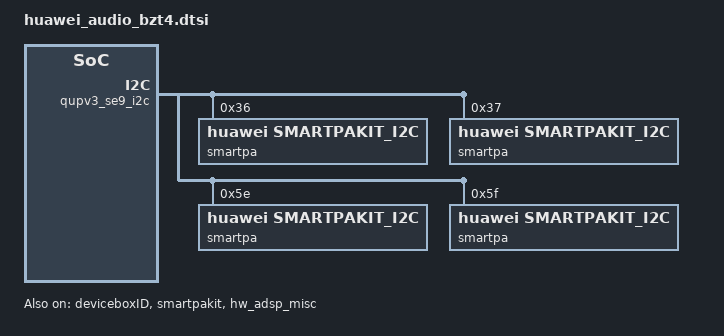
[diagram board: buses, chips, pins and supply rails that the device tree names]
&huawei_audio_info {
	product_identifier = "BZT4";
	smartpa_num = "2";
	speaker_test_content = "leftspeaker,rightspeaker";
	hardware_info {
		mic_num = "1";
		status = "ok";
		hostless_id_info {
			hostless_id_reset = "true";
			hsmic_tx_hostless_id = "46";
			spk_rx_hostless_id = "48";
		};
	};
};

&audio_hw_config {
	product_name = "BZT4";
};

&tlmm {
	smartpakit_irq_pins: smartpakit_irq_pins {
		smartpakit_irq_default: smartpakit_irq_default {
			mux {
				pins = "gpio19", "gpio78";
				function = "gpio";
			};

			config {
				pins = "gpio19", "gpio78";
				bias-pull-up;
				input-enable;
			};
		};
	};

    speaker_box_id_pin {
        speaker_id_default: speaker_default {
            mux {
                pins = "gpio136";
                function = "gpio";
            };
            config {
                pins = "gpio136";
                drive-strength = <2>;
                bias-pull-up;
            };
        };

        speaker_id_sleep: speaker_sleep {
            mux {
                pins = "gpio136";
                function = "gpio";
            };
            config {
                pins = "gpio136";
                drive-strength = <2>;
                bias-pull-down;
            };
        };
    };

    receiver_box_id_pin {
        receiver_id_default: receiver_default {
            mux {
                pins = "gpio142";
                function = "gpio";
            };
            config {
                pins = "gpio142";
                drive-strength = <2>;
                bias-pull-up;
            };
        };

        receiver_id_sleep: receiver_sleep {
            mux {
                pins = "gpio142";
                function = "gpio";
            };
            config {
                pins = "gpio142";
                drive-strength = <2>;
                bias-pull-down;
            };
        };
    };
};

&deviceboxID {
    compatible = "huawei,deviceboxID";
    status = "ok";
    box_num = <2>;
    check_mode = "gpio";            /* check mode use gpio */
    enable_boxID = <1 1 0 0>;       /* enable 2 speaker */
    gpio_num = <1 1 0 0>;             /* each box has one id gpio */
    speaker_map = <2 1>;            /*1 means AAC, 2 means GOER */
    receiver_map = <2 1>;
    /*speaker ID GPIO configure*/
    gpio_speakerID = <&tlmm 136 0>;
    gpio_receiverID = <&tlmm 142 0>;
    pinctrl-names = "default", "idle";
    pinctrl-0 = <&speaker_id_default &receiver_id_default>;
    pinctrl-1 = <&speaker_id_sleep &receiver_id_sleep>;
    box_consistent_test_info {
	consistent_test_support;
	test_group_num = <1>;
	consistent_test_groups = <0 1>;
    };
};

&qupv3_se9_i2c {
	#address-cells = <1>;
	#size-cells = <0>;
	qcom,clk-freq-out = <400000>;
	status = "ok";

	smartpa@36 {
		compatible = "huawei,smartpakit_i2c";
		reg = <0x36>;
		/* 0 MAXIM, 1 NXP, 2 TI, 3 OTHER, 4:huawei customize */
		chip_vendor = <4>;
		/* refer to smartpakit.out_device prop */
		chip_id = <0>;
		chip_model = "01-02";
		status = "ok";

		/* reg_ctl node: a node contains three data<addr value ctl_type>
		 * ctl_type: 0 read reg(default), 1 write reg, 2 only time delay
		 * value:
		 *     read:  reg number(num >= 1)
		 *     write: reg value
		 *     delay: time delay
		 * time delay unit: msecs */
		version_regs = <0x03 1 0>;
		dump_regs = <0 256 0>;
		hw_reset {
			gpio_reset = <&tlmm 18 0>; // GPIO_18
			/* gpio_state node: a node contains two data<state delay>
			 * time delay unit: msecs */
			ctl_sequence = <1 1 0 1>;
		};
		irq_handler {
			gpio_irq = <&tlmm 19 0>; // GPIO_019
			/* 0x0 IRQF_TRIGGER_NONE, 0x1 IRQF_TRIGGER_RISING, 0x2 IRQF_TRIGGER_FALLING, 0x4 IRQF_TRIGGER_HIGH, 0x8 IRQF_TRIGGER_LOW*/
			irq_flags = <2>;
			/* whether or not need reset chip*/
			need_reset;
			rw_sequence = <
				0x10 1 0
				0x11 1 0
				0x13 1 0
				0x14 1 0
				0x40 1 0
				0x41 1 0
				0x42 1 0
			>;
		};
		regmap_cfg {
			reg_bits = <8>;
			val_bits = <16>;
			/* 0 REGCACHE_NONE, 1 REGCACHE_RBTREE, 2 REGCACHE_COMPRESSED, 3 REGCACHE_FLAT */
			cache_type = <0>;
			max_register = <0xff>;
			reg_defaults = <
				0x00 0x1801
				0x01 0x0014
			>;
		};
	};

	smartpa@37 {
		compatible = "huawei,smartpakit_i2c";
		reg = <0x37>;
		/* 0 MAXIM, 1 NXP, 2 TI, 3 OTHER, 4:huawei customize */
		chip_vendor = <4>;
		/* refer to smartpakit.out_device prop */
		chip_id = <1>;
		chip_model = "01-02";
		status = "ok";

		/* reg_ctl node: a node contains three data<addr value ctl_type>
		 * ctl_type: 0 read reg(default), 1 write reg, 2 only time delay
		 * value:
		 *     read:  reg number(num >= 1)
		 *     write: reg value
		 *     delay: time delay
		 * time delay unit: msecs */
		version_regs = <0x03 1 0>;
		dump_regs = <0 256 0>;
		hw_reset {
			gpio_reset = <&tlmm 18 0>; // GPIO_18
			/* gpio_state node: a node contains two data<state delay>
			 * time delay unit: msecs */
			ctl_sequence = <1 1 0 1>;
		};
		irq_handler {
			gpio_irq = <&tlmm 78 0>; // GPIO_078
			/* 0x0 IRQF_TRIGGER_NONE, 0x1 IRQF_TRIGGER_RISING, 0x2 IRQF_TRIGGER_FALLING, 0x4 IRQF_TRIGGER_HIGH, 0x8 IRQF_TRIGGER_LOW*/
			irq_flags = <2>;
			/* whether or not need reset chip*/
			need_reset;
			rw_sequence = <
				0x10 1 0
				0x11 1 0
				0x13 1 0
				0x14 1 0
				0x40 1 0
				0x41 1 0
				0x42 1 0
			>;
		};
		regmap_cfg {
			reg_bits = <8>;
			val_bits = <16>;
			/* 0 REGCACHE_NONE, 1 REGCACHE_RBTREE, 2 REGCACHE_COMPRESSED, 3 REGCACHE_FLAT */
			cache_type = <0>;
			max_register = <0xff>;
			reg_defaults = <
				0x00 0x1801
				0x01 0x0014
			>;
		};
	};

	smartpa@5E{
		compatible = "huawei,smartpakit_i2c";
		reg = <0x5E>;
		chip_vendor = <4>;
		/* refer to smartpakit.out_device prop */
		chip_id = <0>;
		chip_model = "05-01";
		reset_debounce_wait_time = <500>;
		status = "ok";

		/* reg_ctl node: a node contains three data<addr value ctl_type>
		 * ctl_type: 0 read reg(default), 1 write reg, 2 only time delay
		 * value:
		 *     read:  reg number(num >= 1)
		 *     write: reg value
		 *     delay: time delay
		 * time delay unit: msecs */
		version_regs = <0x03 1 0>;
		dump_regs = <0 256 0>;
		hw_reset {
			gpio_reset = <&tlmm 18 0>; // GPIO_18
			/* gpio_state node: a node contains two data<state delay>
			 * time delay unit: msecs */
			ctl_sequence = <0 1 1 1>;
		};
		irq_handler {
			gpio_irq = <&tlmm 19 0>; // GPIO_019
			/* 0x0 IRQF_TRIGGER_NONE, 0x1 IRQF_TRIGGER_RISING, 0x2 IRQF_TRIGGER_FALLING, 0x4 IRQF_TRIGGER_HIGH, 0x8 IRQF_TRIGGER_LOW */
			irq_flags = <2>;
			/* whether or not need reset chip */
			need_reset;
			rw_sequence = <
				0x01 1 0
				0x05 1 0
				0x09 1 0
				0x03 6 1 // mute chip
			>;
		};
		regmap_cfg {
			reg_bits = <8>;
			val_bits = <16>;
			/* 0 REGCACHE_NONE, 1 REGCACHE_RBTREE, 2 REGCACHE_COMPRESSED, 3 REGCACHE_FLAT */
			cache_type = <0>;
			max_register = <0xff>;
		};
	};

	smartpa@5F{
		compatible = "huawei,smartpakit_i2c";
		reg = <0x5F>;
		chip_vendor = <4>;
		/* refer to smartpakit.out_device prop */
		chip_id = <1>;
		chip_model = "05-01";
		reset_debounce_wait_time = <500>;
		status = "ok";

		/* reg_ctl node: a node contains three data<addr value ctl_type>
		 * ctl_type: 0 read reg(default), 1 write reg, 2 only time delay
		 * value:
		 *     read:  reg number(num >= 1)
		 *     write: reg value
		 *     delay: time delay
		 * time delay unit: msecs */
		version_regs = <0x03 1 0>;
		dump_regs = <0 256 0>;
		hw_reset {
			gpio_reset = <&tlmm 18 0>; // GPIO_18
			/* gpio_state node: a node contains two data<state delay>
			 * time delay unit: msecs */
			ctl_sequence = <0 1 1 1>;
		};
		irq_handler {
			gpio_irq = <&tlmm 78 0>; // GPIO_078
			/* 0x0 IRQF_TRIGGER_NONE, 0x1 IRQF_TRIGGER_RISING, 0x2 IRQF_TRIGGER_FALLING, 0x4 IRQF_TRIGGER_HIGH, 0x8 IRQF_TRIGGER_LOW */
			irq_flags = <2>;
			/* whether or not need reset chip */
			need_reset;
			rw_sequence = <
				0x01 1 0
				0x05 1 0
				0x09 1 0
				0x03 6 1 // mute chip
			>;
		};
		regmap_cfg {
			reg_bits = <8>;
			val_bits = <16>;
			/* 0 REGCACHE_NONE, 1 REGCACHE_RBTREE, 2 REGCACHE_COMPRESSED, 3 REGCACHE_FLAT */
			cache_type = <0>;
			max_register = <0xff>;
		};
	};

};

&smartpakit {
	compatible = "huawei,smartpakit";
	product_name = "BZT4";
	/* 0 hisi, 1 qcom */
	soc_platform = <1>;
	/* algo running on: 0 codec_dsp, 1 soc_dsp, 2 smartpa_dsp, 3 simple pa(not smpartpa), 4 simple pa(with i2c) */
	algo_in = <1>;
	/* algo_in params need match out_device for smartpa.
	 * Now, up to only support eight pa, so out_device = <0 0 0 0 0 0 0 0>;
	 * 1. This array is arranged in the following order:
	 *    <0 1 2 3>
	 *    <pril prir secl secr>
	 * 2. This array element value is 0 or 1:
	 *    smartpa: 0 speaker, 1 receiver
	 *    simple pa: out_device not applicable, only set 0 to indicate pa_num
	 * 3. The length of this array is variable, for example:
	 *    single pa: out_device = <0>;
	 *    two pa: out_device = <0 0>;
	 *    four pa: out_device = <1 1 0 0>;
	 *    eight pa: out_device = <0 0 0 0 0 0 0 0>; */
	out_device = <0 0>;
	/* param_version: 1 mixed smartpa param support */
	param_version = <1>;
	cali_data_update_mode = <1>;
	status = "ok";

	smartpakit_irq_pinctrl {
		pinctrl-names = "default";
		pinctrl-0 = <&smartpakit_irq_default>;
	};
};

&hw_adsp_misc {
	compatible = "hw,hw_adsp_misc";
	rx_port_id = <0x1000>;
	tx_port_id = <0x1001>;
	smartpa_num = <2>;
	status = "ok";

	customize_smartamp: customize_smartamp@0{
		compatible = "huawei,customize_smartamp";
		algo_control_need = <0>;
		status = "ok";
	};
};
